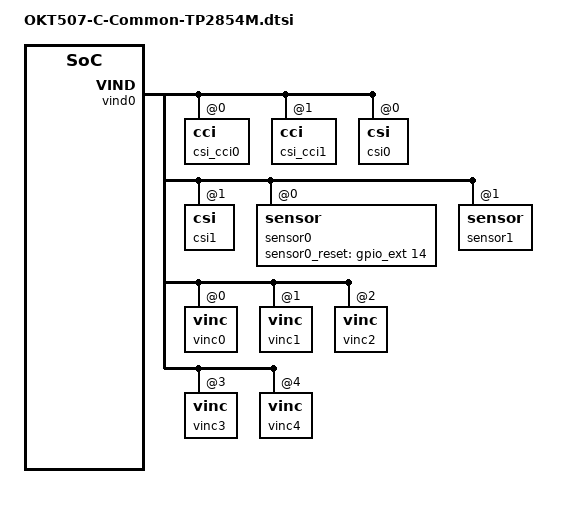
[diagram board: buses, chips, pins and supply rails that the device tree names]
/*
 * Forlinx Technology CO., Ltd. okt507-c soc board.
 *
 * soc board support.
 */

&vind0 {
	vind0_clk = <324000000>;
	status = "okay";

	csi_cci0:cci@0 {
		status = "okay";
	};

	csi_cci1:cci@1 {
		status	= "okay";
	};

	csi0:csi@0 {
		pinctrl-names = "default","sleep";
		pinctrl-0   = <>;
		pinctrl-1	= <>;
		status = "okay";
	};

	csi1:csi@1 {
	     	status	= "okay";
     	};

	actuator0:actuator@0 {
		device_type = "actuator0";
		actuator0_name = "ad5820_act";
		actuator0_slave = <0x18>;
		actuator0_af_pwdn = <>;
		actuator0_afvdd = "afvcc-csi";
		actuator0_afvdd_vol = <2800000>;
		status = "disabled";
	};

	flash0:flash@0 {
		device_type = "flash0";
		flash0_type = <2>;
		flash0_en = <>;
		flash0_mode = <>;
		flash0_flvdd = "";
		flash0_flvdd_vol = <>;
		device_id = <0>;
		status = "disabled";
	};
			
	sensor0:sensor@0 {
		device_type = "sensor0";
		sensor0_mname = "tp2854_mipi";
		sensor0_twi_cci_id = <0>;
		sensor0_twi_addr = <0x88>;
		sensor0_mclk_id = <0>;
		sensor0_pos = "rear";
		sensor0_isp_used = <0>;
		sensor0_fmt = <0>;
		sensor0_stby_mode = <0>;
		sensor0_vflip = <0>;
		sensor0_hflip = <0>;
		sensor0_iovdd-supply = <>;
		sensor0_avdd-supply = <>;
		sensor0_avdd_vol = <1200000>;
		sensor0_dvdd-supply = <>;
		sensor0_dvdd_vol = <>;
		sensor0_power_en = <>;
		sensor0_reset = <&gpio_ext 14 0>;
		sensor0_pwdn = <>;
		sensor0_sm_vs = <>;
		status	= "okay";
	};
								
	sensor1:sensor@1 {
		status	= "okay";
	};

	vinc0:vinc@0 {
		vinc0_csi_sel = <0>;
		vinc0_mipi_sel = <0>;
		vinc0_isp_sel = <0>;
		vinc0_isp_tx_ch = <0>;
		vinc0_rear_sensor_sel = <0>;
		vinc0_front_sensor_sel = <0>;
		vinc0_sensor_list = <0>;
		status = "okay";
	};

	vinc1:vinc@1 {
		vinc1_csi_sel = <0>;
		vinc1_mipi_sel = <0>;
		vinc1_isp_sel = <0>;
		vinc1_isp_tx_ch = <1>;
		vinc1_rear_sensor_sel = <0>;
		vinc1_front_sensor_sel = <0>;
		vinc1_sensor_list = <0>;
		status = "okay";
	};

	vinc2:vinc@2 {
		vinc2_csi_sel = <0>;
		vinc2_mipi_sel = <0>;
		vinc2_isp_sel = <0>;
		vinc2_isp_tx_ch = <2>;
		vinc2_rear_sensor_sel = <0>;
		vinc2_front_sensor_sel = <0>;
		vinc2_sensor_list = <0>;
		status = "okay";
	};

	vinc3:vinc@3 {
		vinc3_csi_sel = <0>;
		vinc3_mipi_sel = <0>;
		vinc3_isp_sel = <0>;
		vinc3_isp_tx_ch = <3>;
		vinc3_rear_sensor_sel = <0>;
		vinc3_front_sensor_sel = <0>;
		vinc3_sensor_list = <0>;
		status = "okay";
	};

	vinc4:vinc@4 {
		vinc4_csi_sel = <1>;
		vinc4_mipi_sel = <0xff>;
		vinc4_isp_sel = <1>;
		vinc4_isp_tx_ch = <0>;
		vinc4_rear_sensor_sel = <1>;
		vinc4_front_sensor_sel = <1>;
		vinc4_sensor_list = <0>;
		status = "okay";
	};

	vinc5:vinc@5 {
		vinc5_csi_sel = <1>;
		vinc5_mipi_sel = <0xff>;
		vinc5_isp_sel = <1>;
		vinc5_isp_tx_ch = <3>;
		vinc5_rear_sensor_sel = <1>;
		vinc5_front_sensor_sel = <1>;
		vinc5_sensor_list = <0>;
		status = "disabled";
	};	
};
